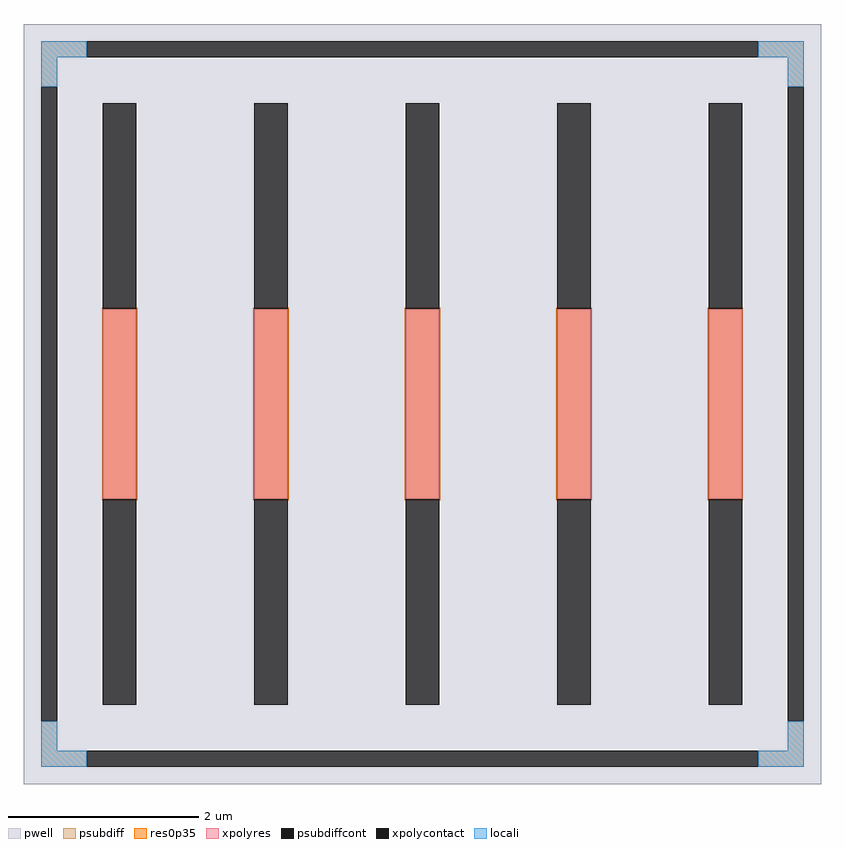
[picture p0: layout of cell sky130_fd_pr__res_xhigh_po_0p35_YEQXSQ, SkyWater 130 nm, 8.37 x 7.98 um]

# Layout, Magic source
magic
tech sky130A
magscale 1 2
<< pwell >>
rect -837 -798 837 798
<< psubdiff >>
rect -801 728 -705 762
rect 705 728 801 762
rect -801 666 -767 728
rect 767 666 801 728
rect -801 -728 -767 -666
rect 767 -728 801 -666
rect -801 -762 -705 -728
rect 705 -762 801 -728
<< psubdiffcont >>
rect -705 728 705 762
rect -801 -666 -767 666
rect 767 -666 801 666
rect -705 -762 705 -728
<< xpolycontact >>
rect -671 200 -601 632
rect -671 -632 -601 -200
rect -353 200 -283 632
rect -353 -632 -283 -200
rect -35 200 35 632
rect -35 -632 35 -200
rect 283 200 353 632
rect 283 -632 353 -200
rect 601 200 671 632
rect 601 -632 671 -200
<< xpolyres >>
rect -671 -200 -601 200
rect -353 -200 -283 200
rect -35 -200 35 200
rect 283 -200 353 200
rect 601 -200 671 200
<< locali >>
rect -801 728 -705 762
rect 705 728 801 762
rect -801 666 -767 728
rect 767 666 801 728
rect -801 -728 -767 -666
rect 767 -728 801 -666
rect -801 -762 -705 -728
rect 705 -762 801 -728
<< res0p35 >>
rect -673 -202 -599 202
rect -355 -202 -281 202
rect -37 -202 37 202
rect 281 -202 355 202
rect 599 -202 673 202
<< properties >>
string gencell sky130_fd_pr__res_xhigh_po_0p35
string FIXED_BBOX -784 -745 784 745
string parameters w 0.350 l 2 m 1 nx 5 wmin 0.350 lmin 0.50 rho 2000 val 12.114k dummy 0 dw 0.0 term 120 sterm 0.0 caplen 0 wmax 0.350 guard 1 glc 1 grc 1 gtc 1 gbc 1 compatible {sky130_fd_pr__res_xhigh_po_0p35  sky130_fd_pr__res_xhigh_po_0p69 sky130_fd_pr__res_xhigh_po_1p41  sky130_fd_pr__res_xhigh_po_2p85 sky130_fd_pr__res_xhigh_po_5p73} full_metal 1
string library sky130
<< end >>
